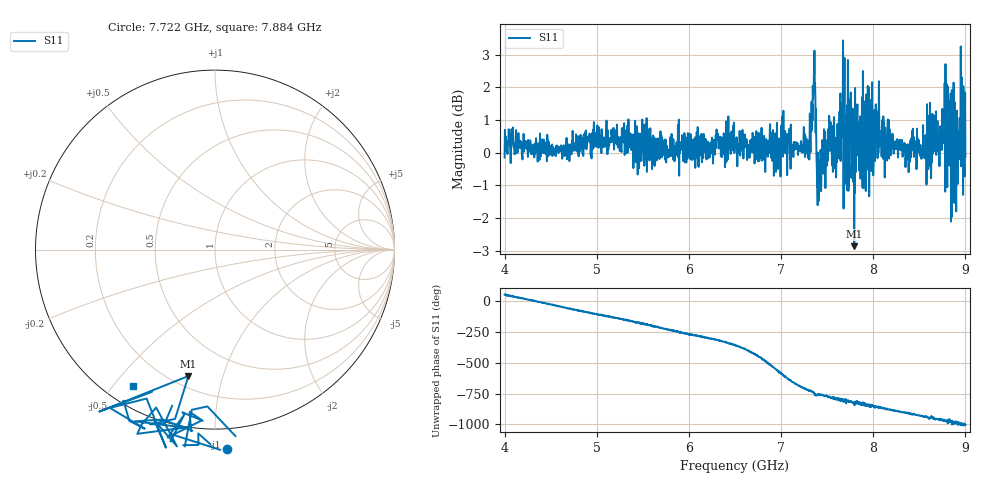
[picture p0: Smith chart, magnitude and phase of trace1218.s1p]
! Created with skrf 1.8.0 (http://scikit-rf.org).
# Hz S RI R 50.0
!freq ReS11 ImS11
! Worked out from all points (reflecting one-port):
!   1601 points, 4 GHz to 9 GHz, reference 50 ohm
!   lowest |S11| = -2.9 dB at 7.794 GHz (marker M1), VSWR 6.14, Z = 13.3 - j38.8 ohm
!   phase of S11 starts at 51 deg and turns -1054 deg over the sweep
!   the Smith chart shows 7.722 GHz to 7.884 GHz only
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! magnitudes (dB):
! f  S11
! 4 GHz  -0.1
! 4.066 GHz  -0.3
! 4.625 GHz  -0.2
! 5.25 GHz  0.1
! 5.875 GHz  0.2
! 6.5 GHz  0.4
! 6.969 GHz  0.2
! 7.025 GHz  1.3
! 7.125 GHz  0.2
! 7.294 GHz  -0.1
! 7.353 GHz  1.9
! 7.412 GHz  -1.2
! 7.519 GHz  0.6
! 7.606 GHz  0.0
! 7.65 GHz  0.7
! 7.75 GHz  0.2
! 7.794 GHz  -2.9
! 7.828 GHz  1.5
! 7.909 GHz  0.0
! 8.038 GHz  0.7
! 8.375 GHz  0.0
! 8.438 GHz  0.5
! 8.575 GHz  -0.1
! 8.791 GHz  0.0
! 8.844 GHz  -2.1
! 8.919 GHz  -0.1
! 8.959 GHz  2.3
! 9 GHz  -0.1
